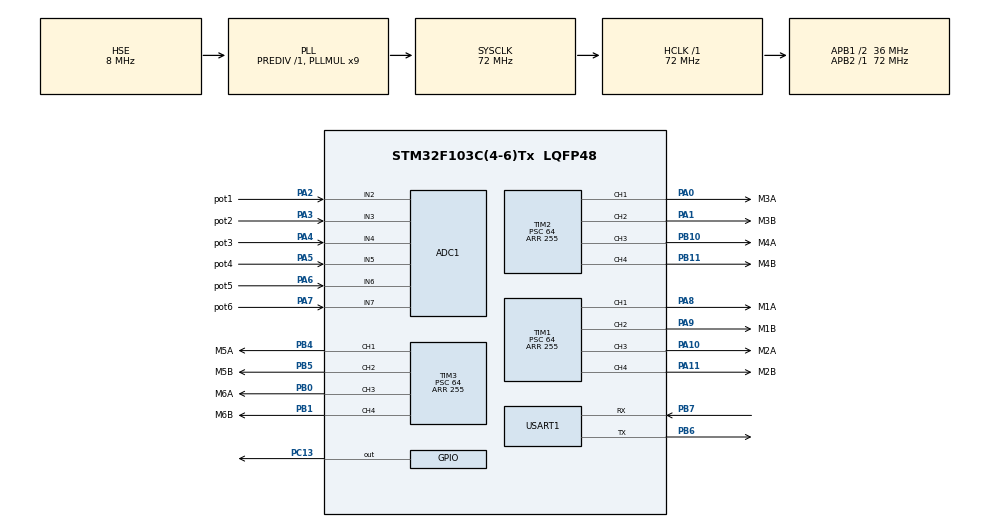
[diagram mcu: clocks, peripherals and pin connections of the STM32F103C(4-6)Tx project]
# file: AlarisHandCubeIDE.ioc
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ADC1.Channel-1\#ChannelRegularConversion=ADC_CHANNEL_2
ADC1.Channel-2\#ChannelRegularConversion=ADC_CHANNEL_3
ADC1.Channel-3\#ChannelRegularConversion=ADC_CHANNEL_4
ADC1.Channel-4\#ChannelRegularConversion=ADC_CHANNEL_5
ADC1.Channel-5\#ChannelRegularConversion=ADC_CHANNEL_6
ADC1.Channel-6\#ChannelRegularConversion=ADC_CHANNEL_7
ADC1.ContinuousConvMode=ENABLE
ADC1.NbrOfConversion=6
ADC1.NbrOfConversionFlag=1
ADC1.Rank-1\#ChannelRegularConversion=1
ADC1.Rank-2\#ChannelRegularConversion=2
ADC1.Rank-3\#ChannelRegularConversion=3
ADC1.Rank-4\#ChannelRegularConversion=4
ADC1.Rank-5\#ChannelRegularConversion=5
ADC1.Rank-6\#ChannelRegularConversion=6
ADC1.SamplingTime-1\#ChannelRegularConversion=ADC_SAMPLETIME_1CYCLE_5
ADC1.SamplingTime-2\#ChannelRegularConversion=ADC_SAMPLETIME_1CYCLE_5
ADC1.SamplingTime-3\#ChannelRegularConversion=ADC_SAMPLETIME_1CYCLE_5
ADC1.SamplingTime-4\#ChannelRegularConversion=ADC_SAMPLETIME_1CYCLE_5
ADC1.SamplingTime-5\#ChannelRegularConversion=ADC_SAMPLETIME_1CYCLE_5
ADC1.SamplingTime-6\#ChannelRegularConversion=ADC_SAMPLETIME_1CYCLE_5
ADC1.master=1
Dma.ADC1.0.Direction=DMA_PERIPH_TO_MEMORY
Dma.ADC1.0.Instance=DMA1_Channel1
Dma.ADC1.0.MemDataAlignment=DMA_MDATAALIGN_WORD
Dma.ADC1.0.MemInc=DMA_MINC_ENABLE
Dma.ADC1.0.Mode=DMA_CIRCULAR
Dma.ADC1.0.PeriphDataAlignment=DMA_PDATAALIGN_WORD
Dma.ADC1.0.PeriphInc=DMA_PINC_DISABLE
Dma.ADC1.0.Priority=DMA_PRIORITY_LOW
Dma.Request0=ADC1
Dma.Request1=USART1_RX
Dma.Request2=USART1_TX
Dma.USART1_RX.1.Direction=DMA_PERIPH_TO_MEMORY
Dma.USART1_RX.1.Instance=DMA1_Channel5
Dma.USART1_RX.1.MemDataAlignment=DMA_MDATAALIGN_BYTE
Dma.USART1_RX.1.MemInc=DMA_MINC_ENABLE
Dma.USART1_RX.1.Mode=DMA_NORMAL
Dma.USART1_RX.1.PeriphDataAlignment=DMA_PDATAALIGN_BYTE
Dma.USART1_RX.1.PeriphInc=DMA_PINC_DISABLE
Dma.USART1_RX.1.Priority=DMA_PRIORITY_LOW
Dma.USART1_TX.2.Direction=DMA_MEMORY_TO_PERIPH
Dma.USART1_TX.2.Instance=DMA1_Channel4
Dma.USART1_TX.2.MemDataAlignment=DMA_MDATAALIGN_BYTE
Dma.USART1_TX.2.MemInc=DMA_MINC_ENABLE
Dma.USART1_TX.2.Mode=DMA_NORMAL
Dma.USART1_TX.2.PeriphDataAlignment=DMA_PDATAALIGN_BYTE
Dma.USART1_TX.2.PeriphInc=DMA_PINC_DISABLE
Dma.USART1_TX.2.Priority=DMA_PRIORITY_LOW
Mcu.Family=STM32F1
Mcu.Name=STM32F103C(4-6)Tx
Mcu.Package=LQFP48
NVIC.DMA1_Channel1_IRQn=true\:0\:0\:false\:false\:true\:false\:true
NVIC.DMA1_Channel4_IRQn=true\:0\:0\:false\:false\:true\:false\:true
NVIC.DMA1_Channel5_IRQn=true\:0\:0\:false\:false\:true\:false\:true
NVIC.PriorityGroup=NVIC_PRIORITYGROUP_4
PA0-WKUP.GPIO_Label=M3A
PA0-WKUP.Signal=S_TIM2_CH1_ETR
PA1.GPIO_Label=M3B
PA1.Signal=S_TIM2_CH2
PA10.GPIO_Label=M2A
PA10.Signal=S_TIM1_CH3
PA11.GPIO_Label=M2B
PA11.Signal=S_TIM1_CH4
PA13.Mode=Trace_Asynchronous_SW
PA13.Signal=SYS_JTMS-SWDIO
PA14.Mode=Trace_Asynchronous_SW
PA14.Signal=SYS_JTCK-SWCLK
PA2.GPIO_Label=pot1
PA2.Signal=ADCx_IN2
PA3.GPIO_Label=pot2
PA3.Signal=ADCx_IN3
PA4.GPIO_Label=pot3
PA4.Signal=ADCx_IN4
PA5.GPIO_Label=pot4
PA5.Signal=ADCx_IN5
PA6.GPIO_Label=pot5
PA6.Signal=ADCx_IN6
PA7.GPIO_Label=pot6
PA7.Signal=ADCx_IN7
PA8.GPIO_Label=M1A
PA8.Signal=S_TIM1_CH1
PA9.GPIO_Label=M1B
PA9.Signal=S_TIM1_CH2
PB0.GPIO_Label=M6A
PB0.Signal=S_TIM3_CH3
PB1.GPIO_Label=M6B
PB1.Signal=S_TIM3_CH4
PB10.GPIO_Label=M4A
PB10.Signal=S_TIM2_CH3
PB11.GPIO_Label=M4B
PB11.Signal=S_TIM2_CH4
PB3.Mode=Trace_Asynchronous_SW
PB3.Signal=SYS_JTDO-TRACESWO
PB4.GPIO_Label=M5A
PB4.Signal=S_TIM3_CH1
PB5.GPIO_Label=M5B
PB5.Signal=S_TIM3_CH2
PB6.Mode=Asynchronous
PB6.Signal=USART1_TX
PB7.Mode=Asynchronous
PB7.Signal=USART1_RX
PC13-TAMPER-RTC.Signal=GPIO_Output
PC14-OSC32_IN.Mode=LSE-External-Oscillator
PC14-OSC32_IN.Signal=RCC_OSC32_IN
PC15-OSC32_OUT.Mode=LSE-External-Oscillator
PC15-OSC32_OUT.Signal=RCC_OSC32_OUT
PD0-OSC_IN.Mode=HSE-External-Oscillator
PD0-OSC_IN.Signal=RCC_OSC_IN
PD1-OSC_OUT.Mode=HSE-External-Oscillator
PD1-OSC_OUT.Signal=RCC_OSC_OUT
ProjectManager.HeapSize=0x200
ProjectManager.StackSize=0x400
ProjectManager.TargetToolchain=STM32CubeIDE
RCC.ADCPresc=RCC_ADCPCLK2_DIV6
RCC.AHBFreq_Value=72000000
RCC.APB1CLKDivider=RCC_HCLK_DIV2
RCC.APB1Freq_Value=36000000
RCC.APB1TimFreq_Value=72000000
RCC.APB2Freq_Value=72000000
RCC.APB2TimFreq_Value=72000000
RCC.HCLKFreq_Value=72000000
RCC.PLLMUL=RCC_PLL_MUL9
RCC.PLLSourceVirtual=RCC_PLLSOURCE_HSE
RCC.SYSCLKFreq_VALUE=72000000
RCC.SYSCLKSource=RCC_SYSCLKSOURCE_PLLCLK
RCC.USBFreq_Value=72000000
SH.ADCx_IN2.0=ADC1_IN2,IN2
SH.ADCx_IN3.0=ADC1_IN3,IN3
SH.ADCx_IN4.0=ADC1_IN4,IN4
SH.ADCx_IN5.0=ADC1_IN5,IN5
SH.ADCx_IN6.0=ADC1_IN6,IN6
SH.ADCx_IN7.0=ADC1_IN7,IN7
SH.S_TIM1_CH1.0=TIM1_CH1,PWM Generation1 CH1
SH.S_TIM1_CH2.0=TIM1_CH2,PWM Generation2 CH2
SH.S_TIM1_CH3.0=TIM1_CH3,PWM Generation3 CH3
SH.S_TIM1_CH4.0=TIM1_CH4,PWM Generation4 CH4
SH.S_TIM2_CH1_ETR.0=TIM2_CH1,PWM Generation1 CH1
SH.S_TIM2_CH2.0=TIM2_CH2,PWM Generation2 CH2
SH.S_TIM2_CH3.0=TIM2_CH3,PWM Generation3 CH3
SH.S_TIM2_CH4.0=TIM2_CH4,PWM Generation4 CH4
SH.S_TIM3_CH1.0=TIM3_CH1,PWM Generation1 CH1
SH.S_TIM3_CH2.0=TIM3_CH2,PWM Generation2 CH2
SH.S_TIM3_CH3.0=TIM3_CH3,PWM Generation3 CH3
SH.S_TIM3_CH4.0=TIM3_CH4,PWM Generation4 CH4
TIM1.Channel-PWM\ Generation1\ CH1=TIM_CHANNEL_1
TIM1.Channel-PWM\ Generation2\ CH2=TIM_CHANNEL_2
TIM1.Channel-PWM\ Generation3\ CH3=TIM_CHANNEL_3
TIM1.Channel-PWM\ Generation4\ CH4=TIM_CHANNEL_4
TIM1.Period=255
TIM1.Prescaler=64
TIM2.Channel-PWM\ Generation1\ CH1=TIM_CHANNEL_1
TIM2.Channel-PWM\ Generation2\ CH2=TIM_CHANNEL_2
TIM2.Channel-PWM\ Generation3\ CH3=TIM_CHANNEL_3
TIM2.Channel-PWM\ Generation4\ CH4=TIM_CHANNEL_4
TIM2.Period=255
TIM2.Prescaler=64
TIM3.Channel-PWM\ Generation1\ CH1=TIM_CHANNEL_1
TIM3.Channel-PWM\ Generation2\ CH2=TIM_CHANNEL_2
TIM3.Channel-PWM\ Generation3\ CH3=TIM_CHANNEL_3
TIM3.Channel-PWM\ Generation4\ CH4=TIM_CHANNEL_4
TIM3.Period=255
TIM3.Prescaler=64
USART1.VirtualMode=VM_ASYNC
board=custom

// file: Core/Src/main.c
/* USER CODE BEGIN Header */
/**
  ******************************************************************************
  * @file           : main.c
  * @brief          : Main program body
  ******************************************************************************
  * @attention
  *
  * <h2><center>&copy; Copyright (c) 2021 STMicroelectronics.
  * All rights reserved.</center></h2>
  *
  * This software component is licensed by ST under BSD 3-Clause license,
  * the "License"; You may not use this file except in compliance with the
  * License. You may obtain a copy of the License at:
  *                        opensource.org/licenses/BSD-3-Clause
  *
  ******************************************************************************
  */
/* USER CODE END Header */
#include "main.h"

/* USER CODE BEGIN Includes */
#include "motor.h"
#include <stdio.h>
#include <cstring>

/* USER CODE END Includes */

ADC_HandleTypeDef hadc1;

TIM_HandleTypeDef htim1;
TIM_HandleTypeDef htim2;
TIM_HandleTypeDef htim3;

UART_HandleTypeDef huart1;

void SystemClock_Config(void);
static void MX_GPIO_Init(void);
static void MX_ADC1_Init(void);
static void MX_USART1_UART_Init(void);
static void MX_TIM1_Init(void);
static void MX_TIM2_Init(void);
static void MX_TIM3_Init(void);

int main(void)
{
  /* USER CODE BEGIN 1 */
	uint16_t raw;
	char msg[10];
  /* USER CODE END 1 */

  /* MCU Configuration--------------------------------------------------------*/

  /* Reset of all peripherals, Initializes the Flash interface and the Systick. */
  HAL_Init();

  /* Configure the system clock */
  SystemClock_Config();

  /* Initialize all configured peripherals */
  MX_GPIO_Init();
  MX_ADC1_Init();
  MX_USART1_UART_Init();
  MX_TIM1_Init();
  MX_TIM2_Init();
  MX_TIM3_Init();
  /* USER CODE BEGIN 2 */

  Motor m3(GPIOA, GPIO_PIN_0, GPIOA, GPIO_PIN_1, GPIOA, GPIO_PIN_4, 200, 250);

  /* USER CODE END 2 */

  /* Infinite loop */
  /* USER CODE BEGIN WHILE */
  while (1)
  {
	  HAL_ADC_Start(&hadc1);
	  HAL_ADC_PollForConversion(&hadc1, HAL_MAX_DELAY);
	  raw = HAL_ADC_GetValue(&hadc1);
	  sprintf(msg, "%hu\r\n", raw);
	  HAL_UART_Transmit(&huart1, (uint8_t*)msg, strlen(msg), HAL_MAX_DELAY);

	  HAL_GPIO_WritePin(GPIOC, GPIO_PIN_13, GPIO_PIN_SET);
	  HAL_Delay(200);
	  HAL_GPIO_WritePin(GPIOC, GPIO_PIN_13, GPIO_PIN_RESET);
	  HAL_Delay(200);
    /* USER CODE END WHILE */

  }
}

void SystemClock_Config(void)
{
  RCC_OscInitTypeDef RCC_OscInitStruct = {0};
  RCC_ClkInitTypeDef RCC_ClkInitStruct = {0};
  RCC_PeriphCLKInitTypeDef PeriphClkInit = {0};

  /** Initializes the RCC Oscillators according to the specified parameters
  * in the RCC_OscInitTypeDef structure.
  */
  RCC_OscInitStruct.OscillatorType = RCC_OSCILLATORTYPE_HSE;
  RCC_OscInitStruct.HSEState = RCC_HSE_ON;
  RCC_OscInitStruct.HSEPredivValue = RCC_HSE_PREDIV_DIV1;
  RCC_OscInitStruct.HSIState = RCC_HSI_ON;
  RCC_OscInitStruct.PLL.PLLState = RCC_PLL_ON;
  RCC_OscInitStruct.PLL.PLLSource = RCC_PLLSOURCE_HSE;
  RCC_OscInitStruct.PLL.PLLMUL = RCC_PLL_MUL9;
  if (HAL_RCC_OscConfig(&RCC_OscInitStruct) != HAL_OK)
  {
    Error_Handler();
  }
  /** Initializes the CPU, AHB and APB buses clocks
  */
  RCC_ClkInitStruct.ClockType = RCC_CLOCKTYPE_HCLK|RCC_CLOCKTYPE_SYSCLK
                              |RCC_CLOCKTYPE_PCLK1|RCC_CLOCKTYPE_PCLK2;
  RCC_ClkInitStruct.SYSCLKSource = RCC_SYSCLKSOURCE_PLLCLK;
  RCC_ClkInitStruct.AHBCLKDivider = RCC_SYSCLK_DIV1;
  RCC_ClkInitStruct.APB1CLKDivider = RCC_HCLK_DIV2;
  RCC_ClkInitStruct.APB2CLKDivider = RCC_HCLK_DIV1;

  if (HAL_RCC_ClockConfig(&RCC_ClkInitStruct, FLASH_LATENCY_2) != HAL_OK)
  {
    Error_Handler();
  }
  PeriphClkInit.PeriphClockSelection = RCC_PERIPHCLK_ADC;
  PeriphClkInit.AdcClockSelection = RCC_ADCPCLK2_DIV6;
  if (HAL_RCCEx_PeriphCLKConfig(&PeriphClkInit) != HAL_OK)
  {
    Error_Handler();
  }
}

static void MX_ADC1_Init(void)
{

  ADC_ChannelConfTypeDef sConfig = {0};

  /** Common config
  */
  hadc1.Instance = ADC1;
  hadc1.Init.ScanConvMode = ADC_SCAN_DISABLE;
  hadc1.Init.ContinuousConvMode = DISABLE;
  hadc1.Init.DiscontinuousConvMode = DISABLE;
  hadc1.Init.ExternalTrigConv = ADC_SOFTWARE_START;
  hadc1.Init.DataAlign = ADC_DATAALIGN_RIGHT;
  hadc1.Init.NbrOfConversion = 1;
  if (HAL_ADC_Init(&hadc1) != HAL_OK)
  {
    Error_Handler();
  }
  /** Configure Regular Channel
  */
  sConfig.Channel = ADC_CHANNEL_2;
  sConfig.Rank = ADC_REGULAR_RANK_1;
  sConfig.SamplingTime = ADC_SAMPLETIME_1CYCLE_5;
  if (HAL_ADC_ConfigChannel(&hadc1, &sConfig) != HAL_OK)
  {
    Error_Handler();
  }

}

static void MX_TIM1_Init(void)
{

  TIM_MasterConfigTypeDef sMasterConfig = {0};
  TIM_OC_InitTypeDef sConfigOC = {0};
  TIM_BreakDeadTimeConfigTypeDef sBreakDeadTimeConfig = {0};

  htim1.Instance = TIM1;
  htim1.Init.Prescaler = 0;
  htim1.Init.CounterMode = TIM_COUNTERMODE_UP;
  htim1.Init.Period = 65535;
  htim1.Init.ClockDivision = TIM_CLOCKDIVISION_DIV1;
  htim1.Init.RepetitionCounter = 0;
  htim1.Init.AutoReloadPreload = TIM_AUTORELOAD_PRELOAD_DISABLE;
  if (HAL_TIM_PWM_Init(&htim1) != HAL_OK)
  {
    Error_Handler();
  }
  sMasterConfig.MasterOutputTrigger = TIM_TRGO_RESET;
  sMasterConfig.MasterSlaveMode = TIM_MASTERSLAVEMODE_DISABLE;
  if (HAL_TIMEx_MasterConfigSynchronization(&htim1, &sMasterConfig) != HAL_OK)
  {
    Error_Handler();
  }
  sConfigOC.OCMode = TIM_OCMODE_PWM1;
  sConfigOC.Pulse = 0;
  sConfigOC.OCPolarity = TIM_OCPOLARITY_HIGH;
  sConfigOC.OCNPolarity = TIM_OCNPOLARITY_HIGH;
  sConfigOC.OCFastMode = TIM_OCFAST_DISABLE;
  sConfigOC.OCIdleState = TIM_OCIDLESTATE_RESET;
  sConfigOC.OCNIdleState = TIM_OCNIDLESTATE_RESET;
  if (HAL_TIM_PWM_ConfigChannel(&htim1, &sConfigOC, TIM_CHANNEL_1) != HAL_OK)
  {
    Error_Handler();
  }
  if (HAL_TIM_PWM_ConfigChannel(&htim1, &sConfigOC, TIM_CHANNEL_2) != HAL_OK)
  {
    Error_Handler();
  }
  if (HAL_TIM_PWM_ConfigChannel(&htim1, &sConfigOC, TIM_CHANNEL_3) != HAL_OK)
  {
    Error_Handler();
  }
  if (HAL_TIM_PWM_ConfigChannel(&htim1, &sConfigOC, TIM_CHANNEL_4) != HAL_OK)
  {
    Error_Handler();
  }
  sBreakDeadTimeConfig.OffStateRunMode = TIM_OSSR_DISABLE;
  sBreakDeadTimeConfig.OffStateIDLEMode = TIM_OSSI_DISABLE;
  sBreakDeadTimeConfig.LockLevel = TIM_LOCKLEVEL_OFF;
  sBreakDeadTimeConfig.DeadTime = 0;
  sBreakDeadTimeConfig.BreakState = TIM_BREAK_DISABLE;
  sBreakDeadTimeConfig.BreakPolarity = TIM_BREAKPOLARITY_HIGH;
  sBreakDeadTimeConfig.AutomaticOutput = TIM_AUTOMATICOUTPUT_DISABLE;
  if (HAL_TIMEx_ConfigBreakDeadTime(&htim1, &sBreakDeadTimeConfig) != HAL_OK)
  {
    Error_Handler();
  }
  HAL_TIM_MspPostInit(&htim1);

}

static void MX_TIM2_Init(void)
{

  TIM_MasterConfigTypeDef sMasterConfig = {0};
  TIM_OC_InitTypeDef sConfigOC = {0};

  htim2.Instance = TIM2;
  htim2.Init.Prescaler = 0;
  htim2.Init.CounterMode = TIM_COUNTERMODE_UP;
  htim2.Init.Period = 65535;
  htim2.Init.ClockDivision = TIM_CLOCKDIVISION_DIV1;
  htim2.Init.AutoReloadPreload = TIM_AUTORELOAD_PRELOAD_DISABLE;
  if (HAL_TIM_PWM_Init(&htim2) != HAL_OK)
  {
    Error_Handler();
  }
  sMasterConfig.MasterOutputTrigger = TIM_TRGO_RESET;
  sMasterConfig.MasterSlaveMode = TIM_MASTERSLAVEMODE_DISABLE;
  if (HAL_TIMEx_MasterConfigSynchronization(&htim2, &sMasterConfig) != HAL_OK)
  {
    Error_Handler();
  }
  sConfigOC.OCMode = TIM_OCMODE_PWM1;
  sConfigOC.Pulse = 0;
  sConfigOC.OCPolarity = TIM_OCPOLARITY_HIGH;
  sConfigOC.OCFastMode = TIM_OCFAST_DISABLE;
  if (HAL_TIM_PWM_ConfigChannel(&htim2, &sConfigOC, TIM_CHANNEL_1) != HAL_OK)
  {
    Error_Handler();
  }
  if (HAL_TIM_PWM_ConfigChannel(&htim2, &sConfigOC, TIM_CHANNEL_2) != HAL_OK)
  {
    Error_Handler();
  }
  if (HAL_TIM_PWM_ConfigChannel(&htim2, &sConfigOC, TIM_CHANNEL_3) != HAL_OK)
  {
    Error_Handler();
  }
  if (HAL_TIM_PWM_ConfigChannel(&htim2, &sConfigOC, TIM_CHANNEL_4) != HAL_OK)
  {
    Error_Handler();
  }
  HAL_TIM_MspPostInit(&htim2);

}

static void MX_TIM3_Init(void)
{

  TIM_MasterConfigTypeDef sMasterConfig = {0};
  TIM_OC_InitTypeDef sConfigOC = {0};

  htim3.Instance = TIM3;
  htim3.Init.Prescaler = 0;
  htim3.Init.CounterMode = TIM_COUNTERMODE_UP;
  htim3.Init.Period = 65535;
  htim3.Init.ClockDivision = TIM_CLOCKDIVISION_DIV1;
  htim3.Init.AutoReloadPreload = TIM_AUTORELOAD_PRELOAD_DISABLE;
  if (HAL_TIM_PWM_Init(&htim3) != HAL_OK)
  {
    Error_Handler();
  }
  sMasterConfig.MasterOutputTrigger = TIM_TRGO_RESET;
  sMasterConfig.MasterSlaveMode = TIM_MASTERSLAVEMODE_DISABLE;
  if (HAL_TIMEx_MasterConfigSynchronization(&htim3, &sMasterConfig) != HAL_OK)
  {
    Error_Handler();
  }
  sConfigOC.OCMode = TIM_OCMODE_PWM1;
  sConfigOC.Pulse = 0;
  sConfigOC.OCPolarity = TIM_OCPOLARITY_HIGH;
  sConfigOC.OCFastMode = TIM_OCFAST_DISABLE;
  if (HAL_TIM_PWM_ConfigChannel(&htim3, &sConfigOC, TIM_CHANNEL_1) != HAL_OK)
  {
    Error_Handler();
  }
  if (HAL_TIM_PWM_ConfigChannel(&htim3, &sConfigOC, TIM_CHANNEL_2) != HAL_OK)
  {
    Error_Handler();
  }
  if (HAL_TIM_PWM_ConfigChannel(&htim3, &sConfigOC, TIM_CHANNEL_3) != HAL_OK)
  {
    Error_Handler();
  }
  if (HAL_TIM_PWM_ConfigChannel(&htim3, &sConfigOC, TIM_CHANNEL_4) != HAL_OK)
  {
    Error_Handler();
  }
  HAL_TIM_MspPostInit(&htim3);

}

static void MX_USART1_UART_Init(void)
{

  huart1.Instance = USART1;
  huart1.Init.BaudRate = 115200;
  huart1.Init.WordLength = UART_WORDLENGTH_8B;
  huart1.Init.StopBits = UART_STOPBITS_1;
  huart1.Init.Parity = UART_PARITY_NONE;
  huart1.Init.Mode = UART_MODE_TX_RX;
  huart1.Init.HwFlowCtl = UART_HWCONTROL_NONE;
  huart1.Init.OverSampling = UART_OVERSAMPLING_16;
  if (HAL_UART_Init(&huart1) != HAL_OK)
  {
    Error_Handler();
  }

}

static void MX_GPIO_Init(void)
{
  GPIO_InitTypeDef GPIO_InitStruct = {0};

  /* GPIO Ports Clock Enable */
  __HAL_RCC_GPIOC_CLK_ENABLE();
  __HAL_RCC_GPIOD_CLK_ENABLE();
  __HAL_RCC_GPIOA_CLK_ENABLE();
  __HAL_RCC_GPIOB_CLK_ENABLE();

  /*Configure GPIO pin Output Level */
  HAL_GPIO_WritePin(GPIOC, GPIO_PIN_13, GPIO_PIN_RESET);

  /*Configure GPIO pin : PC13 */
  GPIO_InitStruct.Pin = GPIO_PIN_13;
  GPIO_InitStruct.Mode = GPIO_MODE_OUTPUT_PP;
  GPIO_InitStruct.Pull = GPIO_NOPULL;
  GPIO_InitStruct.Speed = GPIO_SPEED_FREQ_LOW;
  HAL_GPIO_Init(GPIOC, &GPIO_InitStruct);

}

void Error_Handler(void)
{
  __disable_irq();
  while (1)
  {
  }
}

/************************ (C) COPYRIGHT STMicroelectronics *****END OF FILE****/
